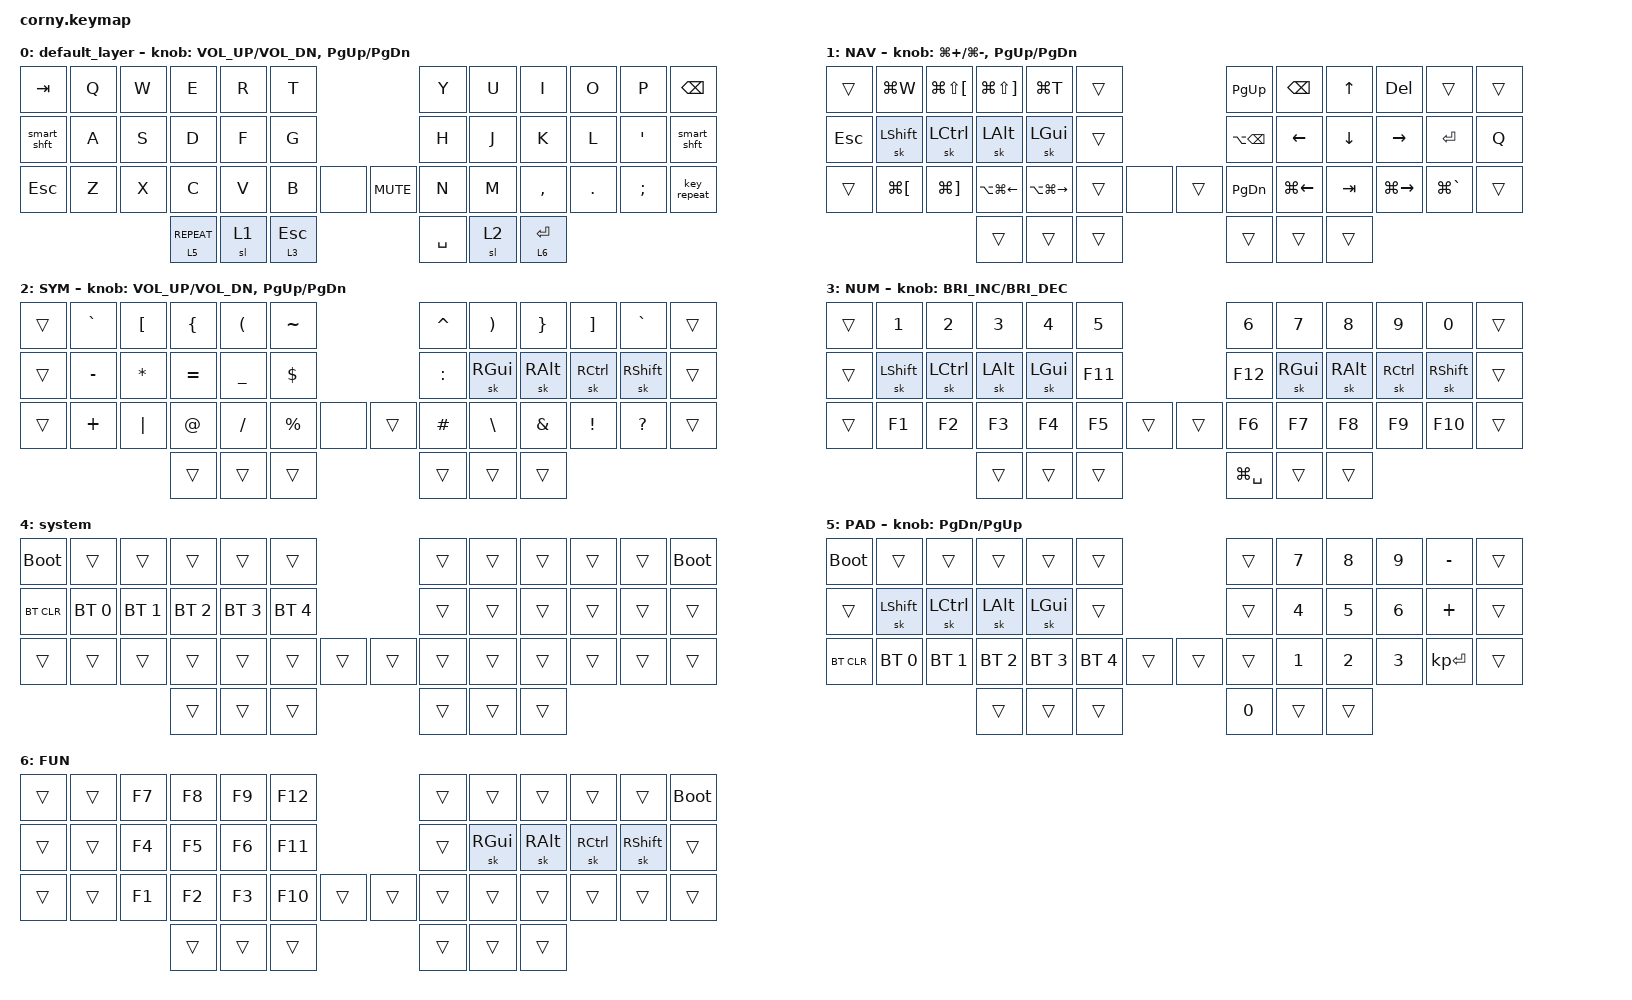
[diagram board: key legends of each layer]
#include "zmk-helpers/helper.h"
#include <behaviors.dtsi>
#include <dt-bindings/zmk/bt.h>
#include <dt-bindings/zmk/keys.h>

#define NAV 1

&sk { quick-release; };

// tap: sticky-shift | shift + tap/ double-tap: caps-word | hold: shift

ZMK_MOD_MORPH(smart_shft,
    bindings = <&sk LSHFT>, <&caps_word>;
    mods = <(MOD_LSFT)>;
)

// Alt+Tab swapper, requires PR #1366

ZMK_TRI_STATE(swapper,
    bindings = <&kt LGUI>, <&kp TAB>, <&kt LGUI>;
    ignored-key-positions = <1 19 21 32 33 34 35 36 37 38 39 40 41>;
    ignored-layers = <1>;
)

&caps_word { /delete-property/ ignore-modifiers; };

&lt {
    tapping-term-ms = <200>;
    flavor = "hold-preferred";
};

/ {
    //    macros {
    //        cddot: cddot {
    //            compatible = "zmk,behavior-macro";
    //            #binding-cells = <0>;
    //            bindings = <&kp DOT &kp DOT &kp FSLH>, <&macro_tap>, <&cddot>;
    //
    //            label = "CDDOT";
    //        };
    //    };
    //
    //    combos {
    //        compatible = "zmk,combos";
    //
    //        dotdot {
    //            bindings = <&cddot>;
    //            key-positions = <33 28>;
    //            layers = <2>;
    //        };
    //    };

    keymap {
        compatible = "zmk,keymap";

        default_layer {
            // -------------------------------------------------------------------------------------------------
            // |  TAB |  Q  |  W  |  E  |  R  |  T  |                    |  Y  |  U   |  I  |  O  |  P  | BKSP |
            // | CTRL |  A  |  S  |  D  |  F  |  G  |                    |  H  |  J   |  K  |  L  |  ;  |  '   |
            // | SHFT |  Z  |  X  |  C  |  V  |  B  |  MUTE  |  |        |  N  |  M   |  ,  |  .  |  /  | ESC  |
            //                    | GUI | LWR | SPC |                    | ENT | RSE  | ALT |

            bindings = <
&kp TAB      &kp Q  &kp W  &kp E           &kp R  &kp T                         &kp Y      &kp U  &kp I        &kp O    &kp P          &kp BSPC
&smart_shft  &kp A  &kp S  &kp D           &kp F  &kp G                         &kp H      &kp J  &kp K        &kp L    &kp SQT        &smart_shft
&kp ESC      &kp Z  &kp X  &kp C           &kp V  &kp B      &none  &kp C_MUTE  &kp N      &kp M  &kp COMMA    &kp DOT  &kp SEMICOLON  &key_repeat
                           &lt 5 C_REPEAT  &sl 1  &lt 3 ESC                     &kp SPACE  &sl 2  &lt 6 ENTER
            >;

            sensor-bindings = <&inc_dec_kp C_VOL_UP C_VOL_DN &inc_dec_kp PG_UP PG_DN>;
        };

        NAV {
            // ------------------------------------------------------------------------------------------------
            // |  TAB |  1  |  2  |  3  |  4  |  5  |                    |  6  |  7  |  8  |  9  |  0  | BKSP |
            // | BTCLR| BT1 | BT2 | BT3 | BT4 | BT5 |                    | LFT | DWN |  UP | RGT |     |  F12 |
            // | SHFT | F1  | F2  | F3  | F4  | F5  |  boot  |  |        |  F6 | F7  | F8  | F9  | F10 |  F11 |
            //                    | GUI |     | SPC |                    | ENT |     | ALT |

            bindings = <
&trans   &kp LG(W)             &kp LG(LS(LEFT_BRACKET))  &kp LG(LS(RIGHT_BRACKET))  &kp LG(T)          &trans                 &kp PAGE_UP        &kp BACKSPACE       &kp UP_ARROW  &kp DELETE           &trans         &trans
&kp ESC  &sk LSHFT             &sk LCTRL                 &sk LALT                   &sk LGUI           &trans                 &kp LA(BACKSPACE)  &kp LEFT            &kp DOWN      &kp RIGHT            &kp ENTER      &kp Q
&trans   &kp LG(LEFT_BRACKET)  &kp LG(RIGHT_BRACKET)     &kp LA(LG(LEFT))           &kp LA(LG(RIGHT))  &trans  &none  &trans  &kp PAGE_DOWN      &kp LG(LEFT_ARROW)  &kp TAB       &kp LG(RIGHT_ARROW)  &kp LG(GRAVE)  &trans
                                                         &trans                     &trans             &trans                 &trans             &trans              &trans
            >;

            sensor-bindings =
                <&inc_dec_kp LG(PLUS) LG(MINUS)>,
                <&inc_dec_kp PG_UP PG_DN>;
        };

        SYM {
            // ------------------------------------------------------------------------------------------------
            // |  TAB |  !  |  @  |  #  |  $  |  %  |                    |  ^  |  &  |  *  |  (  |  )  | BKSP |
            // | CTRL |     |     |     |     |     |                    |  -  |  =  |  [  |  ]  |  \  |  `   |
            // | SHFT |     |     |     |     |     |        |  |  boot  |  _  |  +  |  {  |  }  | "|" |  ~   |
            //                    | GUI |     | SPC |                    | ENT |     | ALT |

            bindings = <
&trans  &kp GRAVE  &kp LEFT_BRACKET  &kp LEFT_BRACE  &kp LEFT_PARENTHESIS  &kp TILDE                   &kp CARET  &kp RIGHT_PARENTHESIS  &kp RIGHT_BRACE  &kp RIGHT_BRACKET  &kp GRAVE  &trans
&trans  &kp MINUS  &kp ASTERISK      &kp EQUAL       &kp UNDERSCORE        &kp DOLLAR                  &kp COLON  &sk RGUI               &sk RALT         &sk RCTRL          &sk RSHFT  &trans
&trans  &kp PLUS   &kp PIPE          &kp AT_SIGN     &kp SLASH             &kp PERCENT  &none  &trans  &kp HASH   &kp BACKSLASH          &kp AMPERSAND    &kp EXCL           &kp QMARK  &trans
                                     &trans          &trans                &trans                      &trans     &trans                 &trans
            >;

            sensor-bindings = <&inc_dec_kp C_VOL_UP C_VOL_DN &inc_dec_kp PG_UP PG_DN>;
        };

        NUM {
            bindings = <
&trans  &kp NUMBER_1  &kp NUMBER_2  &kp NUMBER_3  &kp NUMBER_4  &kp N5                   &kp NUMBER_6   &kp N7    &kp N8    &kp N9     &kp NUMBER_0  &trans
&trans  &sk LSHFT     &sk LCTRL     &sk LALT      &sk LGUI      &kp F11                  &kp F12        &sk RGUI  &sk RALT  &sk RCTRL  &sk RSHFT     &trans
&trans  &kp F1        &kp F2        &kp F3        &kp F4        &kp F5   &trans  &trans  &kp F6         &kp F7    &kp F8    &kp F9     &kp F10       &trans
                                    &trans        &trans        &trans                   &kp LG(SPACE)  &trans    &trans
            >;

            sensor-bindings = <&inc_dec_kp C_BRIGHTNESS_INC C_BRIGHTNESS_DEC>;
        };

        system {
            bindings = <
&bootloader  &trans        &trans        &trans        &trans        &trans                        &trans  &trans  &trans  &trans  &trans  &bootloader
&bt BT_CLR   &bt BT_SEL 0  &bt BT_SEL 1  &bt BT_SEL 2  &bt BT_SEL 3  &bt BT_SEL 4                  &trans  &trans  &trans  &trans  &trans  &trans
&trans       &trans        &trans        &trans        &trans        &trans        &trans  &trans  &trans  &trans  &trans  &trans  &trans  &trans
                                         &trans        &trans        &trans                        &trans  &trans  &trans
            >;
        };

        PAD {
            bindings = <
&bootloader  &trans        &trans        &trans        &trans        &trans                        &trans  &kp N7  &kp N8  &kp N9  &kp MINUS     &trans
&trans       &sk LSHFT     &sk LCTRL     &sk LALT      &sk LGUI      &trans                        &trans  &kp N4  &kp N5  &kp N6  &kp PLUS      &trans
&bt BT_CLR   &bt BT_SEL 0  &bt BT_SEL 1  &bt BT_SEL 2  &bt BT_SEL 3  &bt BT_SEL 4  &trans  &trans  &trans  &kp N1  &kp N2  &kp N3  &kp KP_ENTER  &trans
                                         &trans        &trans        &trans                        &kp N0  &trans  &trans
            >;

            sensor-bindings = <&inc_dec_kp PAGE_DOWN PAGE_UP>;
        };

        FUN {
            bindings = <
&trans  &trans  &kp F7  &kp F8  &kp F9  &kp F12                  &trans  &trans    &trans    &trans     &trans     &bootloader
&trans  &trans  &kp F4  &kp F5  &kp F6  &kp F11                  &trans  &sk RGUI  &sk RALT  &sk RCTRL  &sk RSHFT  &trans
&trans  &trans  &kp F1  &kp F2  &kp F3  &kp F10  &trans  &trans  &trans  &trans    &trans    &trans     &trans     &trans
                        &trans  &trans  &trans                   &trans  &trans    &trans
            >;
        };
    };

    //    conditional_layers {
    //        compatible = "zmk,conditional-layers";
    //
    //        num_act {
    //            if-layers = <1 2>;
    //            then-layer = <3>;
    //        };
    //    };
};
